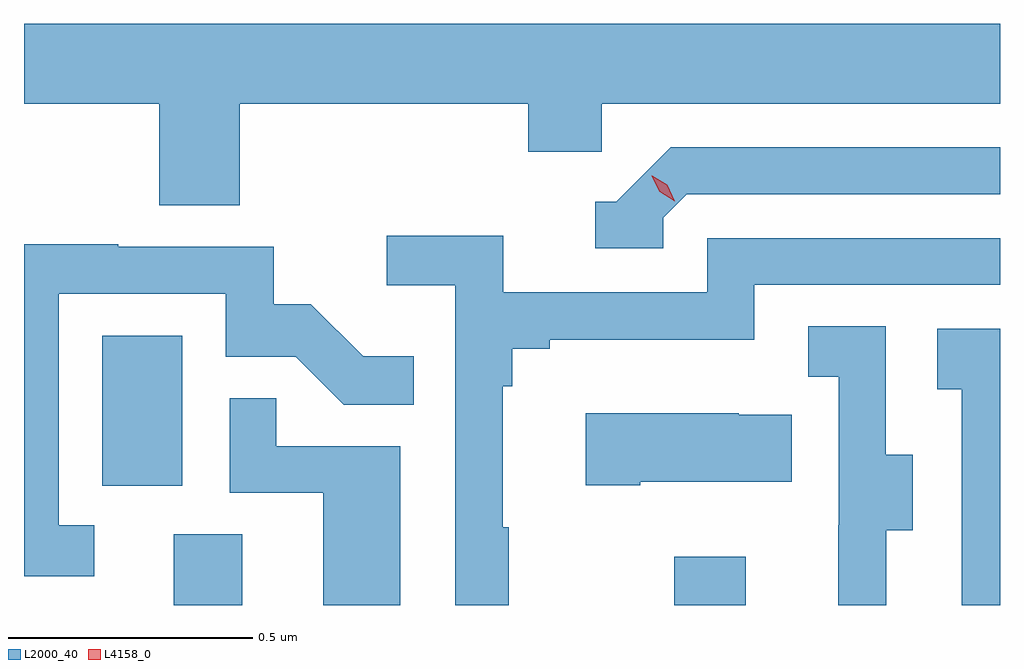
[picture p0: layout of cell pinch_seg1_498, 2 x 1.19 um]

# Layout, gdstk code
import gdstk
lib = gdstk.Library(unit=1e-6, precision=1e-09)
def R(c, l, rs):  # rectangles x0, y0, x1, y1
    for r in rs: c.add(gdstk.rectangle(r[:2], r[2:], *l))
def P(c, l, *ps):  # polygons
    for p in ps: c.add(gdstk.Polygon(p, *l))
L2000_40 = (2000, 40)
L4158_0 = (4158, 0)

pinch_seg1_498 = lib.new_cell('pinch_seg1_498')
R(pinch_seg1_498, L2000_40, [(1089.875,537.385,1090.015,537.53), (1090.9,537.385,1091.047,537.484), (1089.728,537.63,1089.892,537.937)])
P(pinch_seg1_498, L2000_40, [(1090.01,538.412),(1090.601,538.412),(1090.601,538.314),(1090.752,538.314),(1090.752,538.412),(1091.568,538.412),(1091.568,538.576),(1089.568,538.576),(1089.568,538.412),(1089.845,538.412),(1089.845,538.204),(1090.01,538.204)],
  [(1090.878,538.179),(1090.926,538.227),(1091.568,538.227),(1091.568,538.323),(1090.893,538.323),(1090.782,538.212),(1090.739,538.212),(1090.739,538.116),(1090.878,538.116)],
  [(1090.561,537.545),(1090.549,537.545),(1090.549,537.833),(1090.568,537.833),(1090.568,537.91),(1090.645,537.91),(1090.645,537.929),(1091.064,537.929),(1091.064,538.041),(1091.568,538.041),(1091.568,538.137),(1090.968,538.137),(1090.968,538.026),(1090.55,538.026),(1090.55,538.142),(1090.311,538.142),(1090.311,538.04),(1090.452,538.04),(1090.452,537.385),(1090.561,537.385)],
  [(1089.712,537.549),(1089.639,537.549),(1089.639,538.023),(1089.981,538.023),(1089.981,537.894),(1090.125,537.894),(1090.223,537.796),(1090.367,537.796),(1090.367,537.895),(1090.263,537.895),(1090.156,538.002),(1090.08,538.002),(1090.08,538.119),(1089.761,538.119),(1089.761,538.124),(1089.568,538.124),(1089.568,537.444),(1089.712,537.444)],
  [(1091.335,537.538),(1091.389,537.538),(1091.389,537.693),(1091.334,537.693),(1091.334,537.956),(1091.175,537.956),(1091.175,537.853),(1091.238,537.853),(1091.238,537.549),(1091.237,537.549),(1091.237,537.385),(1091.335,537.385)],
  [(1091.568,537.951),(1091.439,537.951),(1091.439,537.827),(1091.49,537.827),(1091.49,537.385),(1091.568,537.385)],
  [(1090.339,537.711),(1090.085,537.711),(1090.085,537.809),(1089.99,537.809),(1089.99,537.615),(1090.181,537.615),(1090.181,537.385),(1090.339,537.385)],
  [(1090.831,537.638),(1091.141,537.638),(1091.141,537.775),(1091.033,537.775),(1091.033,537.778),(1090.719,537.778),(1090.719,537.631),(1090.831,537.631)])
P(pinch_seg1_498, L4158_0, [(1090.902,538.213),(1090.871,538.232),(1090.854,538.264),(1090.854,538.265),(1090.855,538.265),(1090.886,538.246),(1090.902,538.213),(1090.902,538.213)])

lib.write_gds('pinch_seg1_498.gds')
